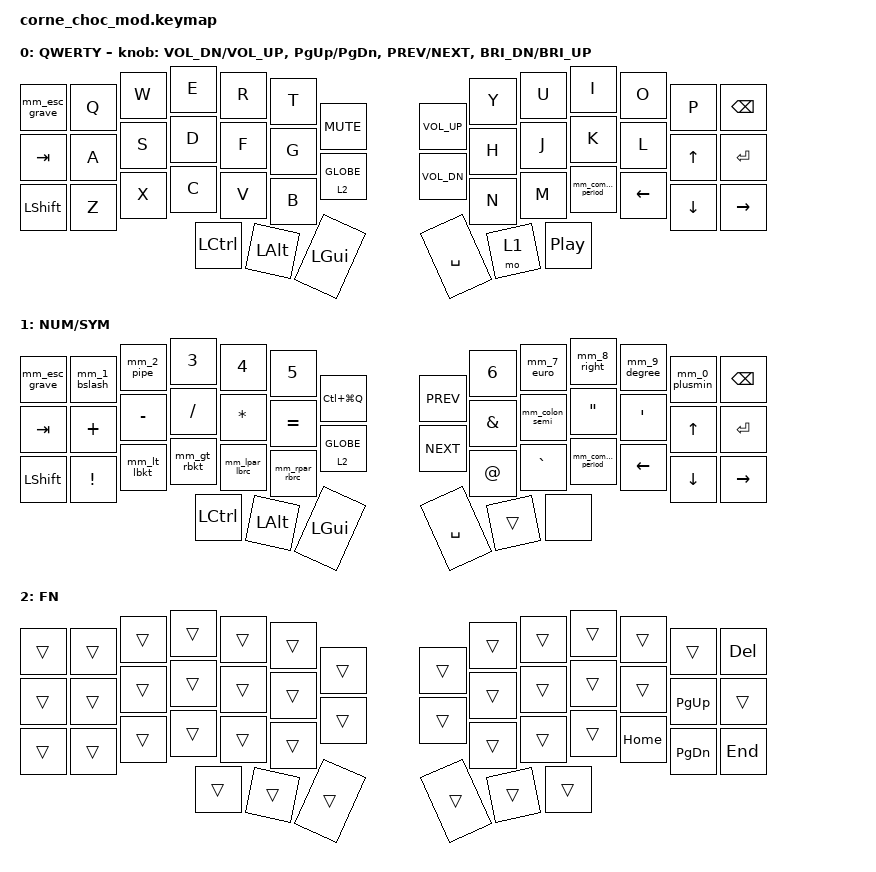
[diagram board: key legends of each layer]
/*
 * Copyright (c) 2020 The ZMK Contributors
 *
 * SPDX-License-Identifier: MIT
 */

#include <behaviors.dtsi>
#include <dt-bindings/zmk/bt.h>
#include <dt-bindings/zmk/keys.h>
#include <dt-bindings/zmk/rgb.h>

/ {
    chosen { zmk,physical-layout = &default_layout; };
};

/ {
    behaviors {
        // ---- non-standard shift relationships: tap = base glyph, Shift = top glyph ----
        // base layer + num/sym: tap "," , Shift "."
        mm_comma_period: mm_comma_period {
            compatible = "zmk,behavior-mod-morph";
            #binding-cells = <0>;
            bindings = <&kp COMMA>, <&kp DOT>;
            mods = <(MOD_LSFT|MOD_RSFT)>;
        };
        mm_1_bslash: mm_1_bslash {          // tap 1 , Shift backslash
            compatible = "zmk,behavior-mod-morph";
            #binding-cells = <0>;
            bindings = <&kp N1>, <&kp BSLH>;
            mods = <(MOD_LSFT|MOD_RSFT)>;
        };
        mm_2_pipe: mm_2_pipe {              // tap 2 , Shift |
            compatible = "zmk,behavior-mod-morph";
            #binding-cells = <0>;
            bindings = <&kp N2>, <&kp PIPE>;
            mods = <(MOD_LSFT|MOD_RSFT)>;
        };
        mm_7_euro: mm_7_euro {              // tap 7 , Shift € (mac Option char)
            compatible = "zmk,behavior-mod-morph";
            #binding-cells = <0>;
            bindings = <&kp N7>, <&comb_euro>;
            mods = <(MOD_LSFT|MOD_RSFT)>;
        };
        mm_8_right: mm_8_right {            // tap 8 , Shift → (literal glyph, Unicode Hex Input)
            compatible = "zmk,behavior-mod-morph";
            #binding-cells = <0>;
            bindings = <&kp N8>, <&uni_rarr>;
            mods = <(MOD_LSFT|MOD_RSFT)>;
        };
        mm_9_degree: mm_9_degree {          // tap 9 , Shift ° (mac Option char)
            compatible = "zmk,behavior-mod-morph";
            #binding-cells = <0>;
            bindings = <&kp N9>, <&comb_degree>;
            mods = <(MOD_LSFT|MOD_RSFT)>;
        };
        mm_0_plusmin: mm_0_plusmin {        // tap 0 , Shift ± (mac Option char)
            compatible = "zmk,behavior-mod-morph";
            #binding-cells = <0>;
            bindings = <&kp N0>, <&comb_plusmin>;
            mods = <(MOD_LSFT|MOD_RSFT)>;
        };
        mm_colon_semi: mm_colon_semi {      // tap : , Shift ;
            compatible = "zmk,behavior-mod-morph";
            #binding-cells = <0>;
            bindings = <&kp COLON>, <&kp SEMI>;
            mods = <(MOD_LSFT|MOD_RSFT)>;
        };
        mm_lt_lbkt: mm_lt_lbkt {            // tap < , Shift [
            compatible = "zmk,behavior-mod-morph";
            #binding-cells = <0>;
            bindings = <&kp LT>, <&kp LBKT>;
            mods = <(MOD_LSFT|MOD_RSFT)>;
        };
        mm_gt_rbkt: mm_gt_rbkt {            // tap > , Shift ]
            compatible = "zmk,behavior-mod-morph";
            #binding-cells = <0>;
            bindings = <&kp GT>, <&kp RBKT>;
            mods = <(MOD_LSFT|MOD_RSFT)>;
        };
        mm_lpar_lbrc: mm_lpar_lbrc {        // tap ( , Shift {
            compatible = "zmk,behavior-mod-morph";
            #binding-cells = <0>;
            bindings = <&kp LPAR>, <&kp LBRC>;
            mods = <(MOD_LSFT|MOD_RSFT)>;
        };
        mm_rpar_rbrc: mm_rpar_rbrc {        // tap ) , Shift }
            compatible = "zmk,behavior-mod-morph";
            #binding-cells = <0>;
            bindings = <&kp RPAR>, <&kp RBRC>;
            mods = <(MOD_LSFT|MOD_RSFT)>;
        };

        // ESC key: tap = Esc, Cmd+Esc -> Cmd+`  (mac window/tab cycling).
        // keep-mods keeps Cmd applied to the morphed `. Needs ` working (ANSI, see notes).
        mm_esc_grave: mm_esc_grave {
            compatible = "zmk,behavior-mod-morph";
            #binding-cells = <0>;
            bindings = <&kp ESC>, <&kp GRAVE>;
            mods = <(MOD_LGUI|MOD_RGUI)>;
            keep-mods = <(MOD_LGUI|MOD_RGUI)>;
        };
    };

    macros {
        // All special glyphs are typed via macOS "Unicode Hex Input": hold Option,
        // type the 4-hex-digit codepoint, release Option. REQUIRES "Unicode Hex
        // Input" to be the ACTIVE input source (see setup notes).
        comb_euro: comb_euro {            // € = U+20AC
            compatible = "zmk,behavior-macro";
            #binding-cells = <0>;
            bindings = <&macro_press &kp LALT>, <&macro_tap &kp N2 &kp N0 &kp A &kp C>, <&macro_release &kp LALT>;
            label = "EURO";
        };
        comb_degree: comb_degree {        // ° = U+00B0
            compatible = "zmk,behavior-macro";
            #binding-cells = <0>;
            bindings = <&macro_press &kp LALT>, <&macro_tap &kp N0 &kp N0 &kp B &kp N0>, <&macro_release &kp LALT>;
            label = "DEGREE";
        };
        comb_plusmin: comb_plusmin {      // ± = U+00B1
            compatible = "zmk,behavior-macro";
            #binding-cells = <0>;
            bindings = <&macro_press &kp LALT>, <&macro_tap &kp N0 &kp N0 &kp B &kp N1>, <&macro_release &kp LALT>;
            label = "PLUSMIN";
        };
        uni_rarr: uni_rarr {              // → = U+2192
            compatible = "zmk,behavior-macro";
            #binding-cells = <0>;
            bindings = <&macro_press &kp LALT>, <&macro_tap &kp N2 &kp N1 &kp N9 &kp N2>, <&macro_release &kp LALT>;
            label = "URARR";
        };
    };

    combos {
        compatible = "zmk,combos";
        // BT key (right thumb, pos 45) + number/bspc -> bluetooth control. NUM/SYM layer only.
        combo_bt0   { timeout-ms = <75>; key-positions = <45 12>; bindings = <&bt BT_SEL 0>; layers = <1>; };
        combo_bt1   { timeout-ms = <75>; key-positions = <45 1>;  bindings = <&bt BT_SEL 1>; layers = <1>; };
        combo_bt2   { timeout-ms = <75>; key-positions = <45 2>;  bindings = <&bt BT_SEL 2>; layers = <1>; };
        combo_btclr { timeout-ms = <75>; key-positions = <45 13>; bindings = <&bt BT_CLR>;   layers = <1>; };
        // S + D pressed together -> "_"  (base + NUM/SYM). The "-" key's Shift->"_" still works too.
        // Tight 40ms window to reduce accidental fires on "ds"/"sd" typing rolls (words, needs, wisdom...).
        combo_under { timeout-ms = <40>; key-positions = <16 17>; bindings = <&kp UNDER>;    layers = <0 1>; };
    };

    keymap {
        compatible = "zmk,keymap";

        // ------------------------------------------------------------------------------------------
        // | ESC | Q | W | E | R | T | MUTE | VOL+ | Y | U | I | O |  P  | BSPC |
        // | TAB | A | S | D | F | G |  FN  | VOL- | H | J | K | L |  ^  | RET  |
        // | SHFT| Z | X | C | V | B |             | N | M | ,/. | < | v |  >   |
        //                 | CTRL | ALT | CMD |   | SPACE | L2(mo) | PLAY |
        // FN (left inner): tap = Globe (emoji/input switch), hold = nav layer (layer 2):
        //   fn+↑/↓/←/→ = PgUp/PgDn/Home/End,  fn+BkSp = forward Delete.
        default_layer {
            display-name = "QWERTY";
            bindings = <
&mm_esc_grave  &kp Q  &kp W  &kp E  &kp R  &kp T   &kp C_MUTE  &kp C_VOL_UP    &kp Y  &kp U  &kp I             &kp O     &kp P     &kp BSPC
&kp TAB        &kp A  &kp S  &kp D  &kp F  &kp G   &lt 2 GLOBE &kp C_VOL_DN    &kp H  &kp J  &kp K             &kp L     &kp UP    &kp RET
&kp LSHFT  &kp Z  &kp X  &kp C  &kp V  &kp B                                &kp N  &kp M  &mm_comma_period  &kp LEFT  &kp DOWN  &kp RIGHT
                                &kp LCTRL  &kp LALT  &kp LGUI               &kp SPACE  &mo 1  &kp C_PP
            >;

            sensor-bindings = <&inc_dec_kp C_VOL_DN C_VOL_UP &inc_dec_kp PG_UP PG_DN &inc_dec_kp C_PREV C_NEXT &inc_dec_kp C_BRI_DN C_BRI_UP>;
        };

        // ------------------------------------------------------------------------------------------
        // | ESC | 1/\ | 2/| | 3/# | 4/$ | 5/% | LOCK | PREV | 6/^ | 7/€ | 8/→ | 9/° | 0/± | BSPC |
        // | TAB |  +  | -/_ | //? |  *  |  =  |  FN  | NEXT |  &  | :/; |  "  |  '  |  ^  | RET  |
        // | SHFT|  !  | </[ | >/] | (/{ | )/} |              |  @  | `/~ | ,/. | < | v |  >   |
        //                 | CTRL | ALT | CMD |   | SPACE | (mo) | BT |
        // LOCK = Ctrl+Cmd+Q.  Shift-pairs shown base/shift.  BT(pos45)+1/2/0 = profiles, BT+BkSp = clear.
        num_sym_layer {
            display-name = "NUM/SYM";
            bindings = <
&mm_esc_grave  &mm_1_bslash  &mm_2_pipe  &kp N3   &kp N4     &kp N5     &kp LC(LG(Q))  &kp C_PREV  &kp N6    &mm_7_euro      &mm_8_right  &mm_9_degree  &mm_0_plusmin  &kp BSPC
&kp TAB        &kp PLUS      &kp MINUS   &kp FSLH &kp ASTRK  &kp EQUAL  &lt 2 GLOBE  &kp C_NEXT    &kp AMPS  &mm_colon_semi  &kp DQT      &kp SQT       &kp UP         &kp RET
&kp LSHFT  &kp EXCL      &mm_lt_lbkt &mm_gt_rbkt &mm_lpar_lbrc &mm_rpar_rbrc                     &kp AT    &kp GRAVE       &mm_comma_period  &kp LEFT  &kp DOWN       &kp RIGHT
                                     &kp LCTRL  &kp LALT  &kp LGUI                               &kp SPACE  &trans  &none
            >;
        };

        // Hold FN -> mac-style navigation (true mac Fn can't be emulated, so this layer does it):
        //   fn+↑=PgUp  fn+↓=PgDn  fn+←=Home  fn+→=End  fn+BkSp=forward Delete
        fn_layer {
            display-name = "FN";
            bindings = <
&trans  &trans  &trans  &trans  &trans  &trans    &trans  &trans    &trans  &trans  &trans  &trans  &trans     &kp DEL
&trans  &trans  &trans  &trans  &trans  &trans    &trans  &trans    &trans  &trans  &trans  &trans  &kp PG_UP  &trans
&trans  &trans  &trans  &trans  &trans  &trans                      &trans  &trans  &trans  &kp HOME   &kp PG_DN  &kp END
                                &trans  &trans  &trans              &trans  &trans  &trans
            >;
        };
    };
};
